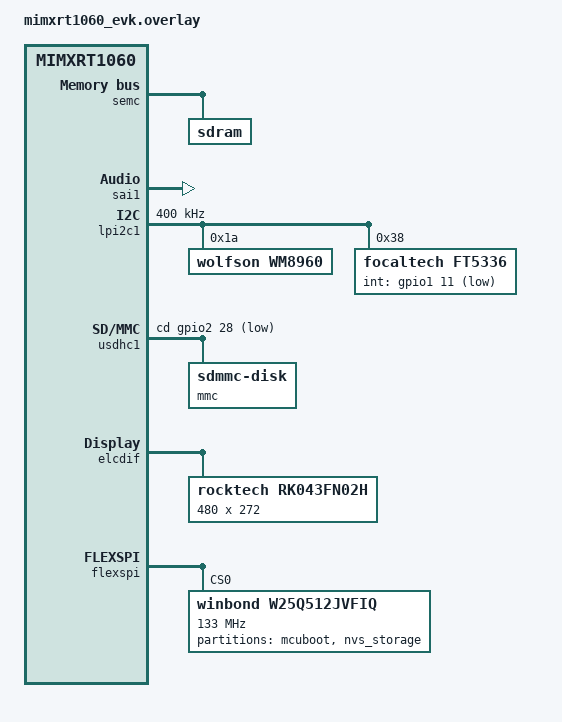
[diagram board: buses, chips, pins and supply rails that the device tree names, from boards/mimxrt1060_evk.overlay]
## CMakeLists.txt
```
cmake_minimum_required(VERSION 3.20)
find_package(Zephyr REQUIRED HINTS $ENV{ZEPHYR_BASE})

project(mp3player)

target_sources(app PRIVATE
    src/main.c
    src/player_state.c
    src/settings.c
    src/mp3_meta.c
    src/mp3_seek.c
    src/mp3_decoder.c
    src/playlist.c
    src/playlist_ui.c
    src/album_art.c
    src/ui.c
    src/ui_fonts.c
    src/ui_layout.c
    src/board_display.c
    src/eq_presets.c
    src/eq_curve.c
    src/eq_bands.c
    src/eq_ui.c
    src/audio_hal.c
    src/audio_hal_wm8994.c
    src/audio_hal_wm8960.c
    src/audio_hal_wm8904.c
    src/audio_hal_da7212.c
    src/biquad_eq.c
    src/button_input.c
)

target_include_directories(app PRIVATE src)

# minimp3 — single-header MP3 decoder
set(MINIMP3_DIR ${CMAKE_CURRENT_SOURCE_DIR}/modules/minimp3)
if(EXISTS ${MINIMP3_DIR}/minimp3.h)
    target_include_directories(app PRIVATE ${MINIMP3_DIR})
endif()

# TJpgDec — fetched by west into modules/tjpgdec (cmumford/TJpgDec mirror)
set(TJPGDEC_DIR ${CMAKE_CURRENT_SOURCE_DIR}/../modules/tjpgdec)
if(EXISTS ${TJPGDEC_DIR}/tjpgd.c)
    target_sources(app PRIVATE ${TJPGDEC_DIR}/tjpgd.c)
    target_include_directories(app PRIVATE ${TJPGDEC_DIR})
    target_compile_definitions(app PRIVATE HAS_TJPGDEC=1)
endif()
```

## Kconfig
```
mainmenu "Zephyr MP3 Player"

source "Kconfig.zephyr"

choice AUDIO_HAL_BACKEND
    prompt "Audio Codec Backend"
    default AUDIO_HAL_WM8994

config AUDIO_HAL_WM8994
    bool "WM8994 (STM32F769I-DISCO / STM32F746G-DISCO)"
    help
      Wolfson WM8994 Audio Hub, 5-Band HW-EQ, HW-DRC.

config AUDIO_HAL_WM8960
    bool "WM8960 (i.MX RT1060 EVK)"
    help
      Wolfson WM8960 — kein HW-EQ, SW-Biquad Fallback.

config AUDIO_HAL_WM8904
    bool "WM8904 (LPCXpresso54628)"
    help
      Wolfson WM8904, 5-Band HW-EQ, HW-DRC.

config AUDIO_HAL_DA7212
    bool "DA7212 (EK-RA6M3G)"
    help
      Dialog DA7212, 5-Band HW-EQ.

endchoice

config AUDIO_HAL_SW_EQ_FALLBACK
    bool "Software Biquad EQ Fallback"
    default y if AUDIO_HAL_WM8960
    help
      Enables software biquad EQ for codecs without hardware EQ.

config MINIMP3
    bool "minimp3 MP3 decoder"
    default y
    help
      Enable the minimp3 single-header MP3 decoder library.
```

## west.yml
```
manifest:
  projects:
    - name: zephyr
      url: https://github.com/zephyrproject-rtos/zephyr
      revision: v3.7.0
      import: true

    - name: minimp3
      url: https://github.com/lieff/minimp3
      revision: master
      path: modules/minimp3

    - name: tjpgdec
      url: https://github.com/cmumford/TJpgDec
      revision: master
      path: modules/tjpgdec
```

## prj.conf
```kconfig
# -- Debug
CONFIG_UART_CONSOLE=n
CONFIG_RTT_CONSOLE=y
CONFIG_USE_SEGGER_RTT=y
CONFIG_THREAD_ANALYZER=y

# ── Audio ─────────────────────────────────────
CONFIG_I2S=y
CONFIG_I2C=y

# ── Filesystem ────────────────────────────────
CONFIG_FILE_SYSTEM=y
CONFIG_FAT_FILESYSTEM_ELM=y
CONFIG_DISK_ACCESS=y
CONFIG_DISK_DRIVER_SDMMC=y

# ── NVS ───────────────────────────────────────
CONFIG_FLASH=y
CONFIG_FLASH_MAP=y
CONFIG_FLASH_PAGE_LAYOUT=y
CONFIG_MPU_ALLOW_FLASH_WRITE=y
CONFIG_NVS=y

# ── GPIO ──────────────────────────────────────
CONFIG_GPIO=y

# ── LVGL ──────────────────────────────────────
CONFIG_DISPLAY=y
CONFIG_LVGL=y
CONFIG_LV_COLOR_DEPTH_16=y
CONFIG_LV_COLOR_16_SWAP=y
CONFIG_INPUT=y

# ── Fonts ─────────────────────────────────────
CONFIG_LV_FONT_MONTSERRAT_10=y
CONFIG_LV_FONT_MONTSERRAT_12=y
CONFIG_LV_FONT_MONTSERRAT_14=y
CONFIG_LV_FONT_MONTSERRAT_16=y
CONFIG_LV_FONT_MONTSERRAT_18=y
CONFIG_LV_FONT_MONTSERRAT_20=y
CONFIG_LV_FONT_MONTSERRAT_22=y
CONFIG_LV_FONT_MONTSERRAT_24=y
CONFIG_LV_FONT_MONTSERRAT_28=y
CONFIG_LV_FONT_MONTSERRAT_32=y

# ── FPU / Math ────────────────────────────────
CONFIG_FPU=y
CONFIG_FPU_SHARING=y
CONFIG_PICOLIBC=y

# ── Threading ─────────────────────────────────
CONFIG_MULTITHREADING=y
CONFIG_NUM_PREEMPT_PRIORITIES=16
CONFIG_INIT_STACKS=y

# ── minimp3 ───────────────────────────────────
CONFIG_MINIMP3=y

# ── Build ─────────────────────────────────────
CONFIG_BUILD_OUTPUT_STRIP_PATHS=n
```

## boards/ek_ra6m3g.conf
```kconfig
# EK-RA6M3G specific config
CONFIG_AUDIO_HAL_DA7212=y
CONFIG_RENESAS_RA_SDHI=y
CONFIG_RENESAS_RA_GLCDC=y
CONFIG_RENESAS_RA_SDRAM=y
CONFIG_SPI=y
CONFIG_SPI_NOR=y
CONFIG_SPI_NOR_SFDP_RUNTIME=y
CONFIG_LV_Z_MEM_POOL_SIZE=65536
CONFIG_KSCAN=y
CONFIG_KSCAN_GT911=y
CONFIG_HEAP_MEM_POOL_SIZE=131072
CONFIG_MAIN_STACK_SIZE=4096
```

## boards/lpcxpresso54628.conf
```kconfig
# LPCXpresso54628 specific config
CONFIG_AUDIO_HAL_WM8904=y
CONFIG_SDMMC_OVER_SDIF=y
CONFIG_MCUX_ELCDIF=y
CONFIG_LV_Z_MEM_POOL_SIZE=32768
CONFIG_KSCAN=y
CONFIG_KSCAN_FT5336=y
CONFIG_HEAP_MEM_POOL_SIZE=32768
CONFIG_MAIN_STACK_SIZE=4096
CONFIG_SYSTEM_WORKQUEUE_STACK_SIZE=2048
```

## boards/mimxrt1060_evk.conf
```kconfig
# i.MX RT1060 EVK specific config
CONFIG_AUDIO_HAL_WM8960=y
CONFIG_AUDIO_HAL_SW_EQ_FALLBACK=y
CONFIG_SPI=y
CONFIG_SPI_NOR=y
CONFIG_SPI_NOR_SFDP_RUNTIME=y
CONFIG_LV_Z_MEM_POOL_SIZE=65536
CONFIG_KSCAN=y
CONFIG_KSCAN_FT5336=y
CONFIG_HEAP_MEM_POOL_SIZE=131072
CONFIG_MAIN_STACK_SIZE=4096
```

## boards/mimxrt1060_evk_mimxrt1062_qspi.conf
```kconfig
# i.MX RT1060 EVK (mimxrt1062/qspi qualified) specific config
CONFIG_AUDIO_HAL_WM8960=y
CONFIG_AUDIO_HAL_SW_EQ_FALLBACK=y
CONFIG_SPI=y
CONFIG_INPUT=y
CONFIG_INPUT_FT5336=y
CONFIG_LV_Z_MEM_POOL_SIZE=65536
CONFIG_HEAP_MEM_POOL_SIZE=65536
CONFIG_MAIN_STACK_SIZE=4096
CONFIG_ENTROPY_GENERATOR=y
CONFIG_ENTROPY_MCUX_TRNG=y
```

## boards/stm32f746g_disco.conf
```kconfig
# STM32F746G-DISCO specific config
CONFIG_AUDIO_HAL_WM8994=y
CONFIG_ENTROPY_GENERATOR=y
CONFIG_ENTROPY_STM32_RNG=y
CONFIG_MEMC=y
CONFIG_LV_Z_MEM_POOL_SIZE=49152
CONFIG_INPUT=y
CONFIG_INPUT_FT5336=y
CONFIG_HEAP_MEM_POOL_SIZE=16384
CONFIG_MAIN_STACK_SIZE=4096
```

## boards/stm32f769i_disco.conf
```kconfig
# STM32F769I-DISCO specific config
CONFIG_AUDIO_HAL_WM8994=y
CONFIG_ENTROPY_GENERATOR=y
CONFIG_ENTROPY_STM32_RNG=y
CONFIG_MIPI_DSI=y
CONFIG_MEMC=y
CONFIG_LV_Z_MEM_POOL_SIZE=65536
CONFIG_INPUT=y
CONFIG_INPUT_FT5336=y
CONFIG_HEAP_MEM_POOL_SIZE=16384
CONFIG_MAIN_STACK_SIZE=4096
```

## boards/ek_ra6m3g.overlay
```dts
/* boards/ek_ra6m3g.overlay */

&sdramc {
    status = "okay";
    is42s16320f: sdram@90000000 {
        device_type         = "memory";
        reg                 = <0x90000000 DT_SIZE_M(32)>;
        renesas,endian      = <0>;
        renesas,bus-width   = <16>;
        renesas,col-addr    = <10>;
        renesas,row-addr    = <13>;
        renesas,bank-num    = <4>;
        renesas,cas-latency = <2>;
        renesas,trcd-delay-ns     = <18>;
        renesas,tras-delay-ns     = <42>;
        renesas,trp-delay-ns      = <18>;
        renesas,twr-delay-ns      = <14>;
        renesas,refresh-interval-ns = <7813>;
    };
};

&ssi0 {
    compatible = "renesas,ra-ssi";
    status = "okay";
    renesas,operating-mode = <0>;
    renesas,bit-depth = <16>;
    renesas,channel-num = <2>;
};

&sci_i2c2 {
    compatible = "renesas,ra-sci-i2c";
    status = "okay";
    clock-frequency = <I2C_BITRATE_FAST>;

    da7212: da7212@1a {
        compatible = "dialog,da7212";
        reg = <0x1a>;
    };

    gt911: gt911@5d {
        compatible  = "goodix,gt911";
        reg         = <0x5d>;
        irq-gpios   = <&ioport2 6 GPIO_ACTIVE_HIGH>;
        reset-gpios = <&ioport2 5 GPIO_ACTIVE_LOW>;
    };
};

&sdhi0 {
    compatible = "renesas,ra-sdhi";
    status = "okay";
    cd-gpios = <&ioport4 5 GPIO_ACTIVE_LOW>;
    bus-width = <4>;
    mmc {
        compatible = "zephyr,sdmmc-disk";
        disk-name  = "SD";
        status     = "okay";
    };
};

&glcdc0 {
    compatible = "renesas,ra-glcdc";
    status = "okay";
    display = <&lcd_panel>;

    lcd_panel: lcd_panel {
        width           = <480>;
        height          = <272>;
        hsync-len       = <41>;
        hfront-porch    = <4>;
        hback-porch     = <8>;
        vsync-len       = <10>;
        vfront-porch    = <4>;
        vback-porch     = <2>;
        hsync-active    = <0>;
        vsync-active    = <0>;
        de-active       = <1>;
        pixelclk-active = <0>;
        backlight-gpios = <&ioport4 3 GPIO_ACTIVE_HIGH>;
    };
};

&qspi0 {
    compatible = "renesas,ra-qspi";
    status = "okay";

    mx25l512: mx25l512@0 {
        compatible        = "jedec,spi-nor";
        reg               = <0>;
        spi-max-frequency = <80000000>;
        size              = <DT_SIZE_M(512)>;
        status            = "okay";

        partitions {
            compatible    = "fixed-partitions";
            #address-cells = <1>;
            #size-cells    = <1>;

            nvs_storage: partition@3F00000 {
                label = "nvs_storage";
                reg   = <0x03F00000 0x00100000>;
            };
        };
    };
};
```

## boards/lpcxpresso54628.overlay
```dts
/* boards/lpcxpresso54628.overlay */

&flexcomm6 {
    compatible = "nxp,lpc-i2s";
    status = "okay";
    dmas = <&dma0 12>, <&dma0 13>;
    dma-names = "rx", "tx";
};

&flexcomm2 {
    compatible = "nxp,lpc-i2c";
    status = "okay";
    clock-frequency = <I2C_BITRATE_FAST>;

    wm8904: wm8904@1a {
        compatible = "wolfson,wm8904";
        reg = <0x1a>;
    };

    ft5336@38 {
        compatible = "focaltech,ft5336";
        reg = <0x38>;
        int-gpios = <&gpio4 0 GPIO_ACTIVE_LOW>;
    };
};

&sdif {
    status = "okay";
    cd-gpios = <&gpio2 10 GPIO_ACTIVE_LOW>;
    mmc {
        compatible   = "zephyr,sdmmc-disk";
        disk-name    = "SD";
        bus-width    = <4>;
        status       = "okay";
    };
};

&lcdif {
    status = "okay";
    display = <&rk043fn02h>;

    rk043fn02h: rk043fn02h {
        compatible      = "rocktech,rk043fn02h";
        width           = <480>;
        height          = <272>;
        hsync-len       = <41>;
        hfront-porch    = <4>;
        hback-porch     = <8>;
        vsync-len       = <10>;
        vfront-porch    = <4>;
        vback-porch     = <2>;
        hsync-active    = <0>;
        vsync-active    = <0>;
        de-active       = <1>;
        pixelclk-active = <0>;
        disp-on-gpios   = <&gpio2 26 GPIO_ACTIVE_HIGH>;
    };
};

&flash0 {
    partitions {
        compatible    = "fixed-partitions";
        #address-cells = <1>;
        #size-cells    = <1>;

        slot0_partition: partition@0 {
            label = "image-0";
            reg   = <0x00000000 0x00078000>;
        };
        nvs_storage: partition@78000 {
            label = "nvs_storage";
            reg   = <0x00078000 0x00008000>;
        };
    };
};

/ {
    buttons {
        compatible = "gpio-keys";
        btn_play_pause: btn_0 {
            gpios = <&gpio0 6 (GPIO_PULL_UP | GPIO_ACTIVE_LOW)>;
            label = "Play/Pause";
        };
        btn_next: btn_1 {
            gpios = <&gpio0 7 (GPIO_PULL_UP | GPIO_ACTIVE_LOW)>;
            label = "Next";
        };
        btn_prev: btn_2 {
            gpios = <&gpio0 8 (GPIO_PULL_UP | GPIO_ACTIVE_LOW)>;
            label = "Prev";
        };
        btn_vol_up: btn_3 {
            gpios = <&gpio1 31 (GPIO_PULL_UP | GPIO_ACTIVE_LOW)>;
            label = "Vol+";
        };
        btn_vol_down: btn_4 {
            gpios = <&gpio0 24 (GPIO_PULL_UP | GPIO_ACTIVE_LOW)>;
            label = "Vol-";
        };
    };
};
```

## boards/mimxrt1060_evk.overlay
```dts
/* boards/mimxrt1060_evk.overlay */

&semc {
    status = "okay";
    sdram: sdram@80000000 {
        device_type = "memory";
        reg = <0x80000000 DT_SIZE_M(32)>;
    };
};

&sai1 {
    status = "okay";
    mclk-is-output;
};

&lpi2c1 {
    status = "okay";
    clock-frequency = <I2C_BITRATE_FAST>;

    wm8960: wm8960@1a {
        compatible = "wolfson,wm8960";
        reg = <0x1a>;
    };

    ft5336@38 {
        compatible = "focaltech,ft5336";
        reg = <0x38>;
        int-gpios = <&gpio1 11 GPIO_ACTIVE_LOW>;
    };
};

&usdhc1 {
    status = "okay";
    cd-gpios = <&gpio2 28 GPIO_ACTIVE_LOW>;
    no-1-8-v;

    mmc {
        compatible = "zephyr,sdmmc-disk";
        disk-name  = "SD";
        status     = "okay";
    };
};

&elcdif {
    status = "okay";
    display = <&rk043fn02h>;

    rk043fn02h: rk043fn02h {
        compatible     = "rocktech,rk043fn02h";
        width          = <480>;
        height         = <272>;
        hsync-len      = <41>;
        hfront-porch   = <4>;
        hback-porch    = <8>;
        vsync-len      = <10>;
        vfront-porch   = <4>;
        vback-porch    = <2>;
        hsync-active   = <0>;
        vsync-active   = <0>;
        de-active      = <1>;
        pixelclk-active = <0>;
    };
};

&flexspi {
    status = "okay";
    w25q512jvfiq: w25q512jvfiq@0 {
        compatible  = "winbond,w25q512jvfiq", "jedec,spi-nor";
        size        = <DT_SIZE_M(512)>;
        reg         = <0>;
        spi-max-frequency = <133000000>;
        status      = "okay";

        partitions {
            compatible    = "fixed-partitions";
            #address-cells = <1>;
            #size-cells    = <1>;

            boot_partition: partition@0 {
                label = "mcuboot";
                reg   = <0x00000000 DT_SIZE_M(4)>;
            };
            nvs_storage: partition@3FC0000 {
                label = "nvs_storage";
                reg   = <0x03FC0000 0x00040000>;
            };
        };
    };
};
```

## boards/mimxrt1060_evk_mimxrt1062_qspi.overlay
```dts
/* boards/mimxrt1060_evk.overlay */
#include <zephyr/dt-bindings/display/panel.h>

/ {
    chosen {
        zephyr,display = &lcdif;
    };
};

/* ── SAI1: WM8960 audio ───────────────────────────────────── */
&sai1 {
    status = "okay";
    mclk-output;
};

/* ── LPI2C1: WM8960 codec + FT5336 touch ─────────────────── */
&lpi2c1 {
    status = "okay";
    clock-frequency = <I2C_BITRATE_FAST>;

    wm8960: wm8960@1a {
        compatible = "wolfson,wm8960";
        reg = <0x1a>;
    };

    ft5336@38 {
        compatible = "focaltech,ft5336";
        reg = <0x38>;
        int-gpios = <&gpio1 11 GPIO_ACTIVE_LOW>;
    };
};

/* ── USDHC1: SD card ──────────────────────────────────────── */
&usdhc1 {
    status = "okay";
    no-1-8-v;

    mmc {
        compatible = "zephyr,sdmmc-disk";
        disk-name  = "SD";
        status     = "okay";
    };
};

/* ── eLCDIF: 480×272 RK043FN02H parallel panel ────────────── */
&lcdif {
    status = "okay";
    width  = <480>;
    height = <272>;
    pixel-format = <PANEL_PIXEL_FORMAT_RGB_565>;

    display-timings {
        compatible = "zephyr,panel-timing";
        clock-frequency = <9210240>;
        hsync-active   = <0>;
        vsync-active   = <0>;
        de-active      = <1>;
        pixelclk-active = <0>;
        hsync-len      = <41>;
        vsync-len      = <10>;
        hback-porch    = <8>;
        vback-porch    = <2>;
        hfront-porch   = <4>;
        vfront-porch   = <4>;
    };
};
```

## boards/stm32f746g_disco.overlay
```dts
/* boards/stm32f746g_disco.overlay */
#include <zephyr/dt-bindings/display/panel.h>

/* ── SAI1 Block A: PE2=MCLK, PE5=SCK, PE6=SD, PE4=FS ─────── */
&sai1_a {
    dma-names = "tx";
    pinctrl-0 = <&sai1_mclk_a_pe2 &sai1_sck_a_pe5
                 &sai1_sd_a_pe6   &sai1_fs_a_pe4>;
    pinctrl-names = "default";
    status = "okay";
};

/* ── DMA2: required for st_stm32_dma_v1 SAI driver ────────── */
&dma2 {
    status = "okay";
};

/* ── RNG for sys_rand_get ─────────────────────────────────── */
&rng {
    status = "okay";
};

/* ── WM8994 on I2C3 (PH7=SCL, PH8=SDA) ──────────────────── */
&i2c3 {
    status = "okay";
    clock-frequency = <I2C_BITRATE_FAST>;

    wm8994: wm8994@1b {
        compatible = "wolfson,wm8994";
        reg = <0x1b>;
    };

    ft5336@38 {
        compatible = "focaltech,ft5336";
        reg = <0x38>;
        int-gpios = <&gpioi 13 GPIO_ACTIVE_LOW>;
    };
};

/* ── SDMMC1 (SD card) ─────────────────────────────────────── */
&sdmmc1 {
    status = "okay";
    pinctrl-0 = <&sdmmc1_d0_pc8 &sdmmc1_d1_pc9
                 &sdmmc1_d2_pc10 &sdmmc1_d3_pc11
                 &sdmmc1_ck_pc12 &sdmmc1_cmd_pd2>;
    pinctrl-names = "default";
    cd-gpios = <&gpioc 13 GPIO_ACTIVE_LOW>;
    bus-width = <4>;

    mmc {
        compatible = "zephyr,sdmmc-disk";
        disk-name  = "SD";
        status     = "okay";
    };
};

/* ── LTDC (480×272 RK043FN02H parallel panel) ─────────────── */
&ltdc {
    status = "okay";
    ext-sdram = <&sdram1>;
    width     = <480>;
    height    = <272>;
    pixel-format = <PANEL_PIXEL_FORMAT_RGB_888>;
    disp-on-gpios = <&gpioi 12 GPIO_ACTIVE_HIGH>;
    bl-ctrl-gpios = <&gpiok 3  GPIO_ACTIVE_HIGH>;

    display-timings {
        compatible = "zephyr,panel-timing";
        hsync-active   = <0>;
        vsync-active   = <0>;
        de-active      = <1>;
        pixelclk-active = <0>;
        hsync-len      = <41>;
        vsync-len      = <10>;
        hback-porch    = <8>;
        vback-porch    = <2>;
        hfront-porch   = <4>;
        vfront-porch   = <4>;
    };
};

/* ── Flash partitions for NVS ─────────────────────────────── */
&flash0 {
    partitions {
        compatible    = "fixed-partitions";
        #address-cells = <1>;
        #size-cells    = <1>;

        slot0_partition: partition@0 {
            label = "image-0";
            reg   = <0x00000000 0x000F0000>;
        };
        nvs_storage: partition@F0000 {
            label = "nvs_storage";
            reg   = <0x000F0000 0x00010000>;
        };
    };
};
```

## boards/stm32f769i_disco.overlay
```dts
/* boards/stm32f769i_disco.overlay */
#include <zephyr/dt-bindings/dma/stm32_dma.h>
#include <zephyr/dt-bindings/display/panel.h>
#include <zephyr/dt-bindings/mipi_dsi/mipi_dsi.h>

/* ── SAI2 Block A: not in stm32f7.dtsi, add it here ──────── */
/ {
    chosen {
        zephyr,display = &ltdc;
    };

    soc {
        sai2_a: sai2@40015c04 {
            compatible = "st,stm32-sai";
            #address-cells = <1>;
            #size-cells = <0>;
            reg = <0x40015c04 0x20>;
            clocks = <&rcc STM32_CLOCK(APB2, 23)>;
            dmas = <&dma2 4 3 (STM32_DMA_MODE_NORMAL |
                               STM32_DMA_PRIORITY_HIGH |
                               STM32_DMA_16BITS) 0>;
            dma-names = "tx";
            pinctrl-0 = <&sai2_mclk_a_pi4 &sai2_sck_a_pi5
                         &sai2_sd_a_pi6  &sai2_fs_a_pi7>;
            pinctrl-names = "default";
            status = "okay";
        };
    };
};

/* ── WM8994 on I2C3 (PH7=SCL, PH8=SDA) ──────────────────── */
&i2c3 {
    status = "okay";
    pinctrl-0 = <&i2c3_scl_ph7 &i2c3_sda_ph8>;
    pinctrl-names = "default";
    clock-frequency = <I2C_BITRATE_FAST>;

    wm8994: wm8994@1b {
        compatible = "wolfson,wm8994";
        reg = <0x1b>;
    };
};

/* ── PLLSAI for pixel clock (800×480 @ ~25 MHz) ─────────── */
&pllsai {
    div-m = <25>;
    mul-n = <384>;
    div-r = <5>;
    post-div-r = <8>;
    clocks = <&clk_hse>;
    status = "okay";
};

/* ── DMA2: enable so DT_HAS_COMPAT_STATUS_OKAY(st_stm32_dma_v1) is true ── */
&dma2 {
    status = "okay";
};

/* ── RNG for sys_rand_get ─────────────────────────────────── */
&rng {
    status = "okay";
};

/* ── LTDC (feeds DSI host) ───────────────────────────────── */
&ltdc {
    width        = <800>;
    height       = <480>;
    pixel-format = <PANEL_PIXEL_FORMAT_RGB_888>;
    ext-sdram    = <&sdram1>;
    def-back-color-red   = <0>;
    def-back-color-green = <0>;
    def-back-color-blue  = <0>;
    status = "okay";

    display-timings {
        compatible = "zephyr,panel-timing";
        hsync-active   = <0>;
        vsync-active   = <0>;
        de-active      = <0>;
        pixelclk-active = <0>;
        hsync-len      = <2>;
        vsync-len      = <1>;
        hback-porch    = <34>;
        vback-porch    = <15>;
        hfront-porch   = <34>;
        vfront-porch   = <16>;
    };
};

/* ── MIPI DSI host + OTM8009A panel ─────────────────────── */
&mipi_dsi {
    pll-ndiv = <100>;
    pll-idf  = <5>;
    pll-odf  = <0>;

    vs-active-high;
    hs-active-high;
    de-active-high;

    status = "okay";

    otm8009a: otm8009a@0 {
        compatible = "orisetech,otm8009a";
        reg          = <0>;
        reset-gpios  = <&gpioj 15 GPIO_ACTIVE_LOW>;
        width        = <800>;
        height       = <480>;
        data-lanes   = <2>;
        pixel-format = <MIPI_DSI_PIXFMT_RGB888>;
        status       = "okay";
    };
};
```

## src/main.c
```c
#include <zephyr/kernel.h>
#include <zephyr/drivers/display.h>
#include <lvgl.h>
#include <string.h>

#include "player_state.h"
#include "settings.h"
#include "playlist.h"
#include "mp3_decoder.h"
#include "audio_hal.h"
#include "ui.h"
#include "button_input.h"

/* ── Stack-Definitionen ───────────────────────── */
#define DECODER_STACK  16384
#define PLAYER_STACK    4096
#define UI_STACK       20480
#define SAVE_STACK      2048

K_THREAD_STACK_DEFINE(decoder_stack, DECODER_STACK);
K_THREAD_STACK_DEFINE(player_stack,  PLAYER_STACK);
K_THREAD_STACK_DEFINE(ui_stack,      UI_STACK);
K_THREAD_STACK_DEFINE(save_stack,    SAVE_STACK);

static struct k_thread decoder_tid;
static struct k_thread player_tid;
static struct k_thread ui_tid;
static struct k_thread save_tid;

/* ── Save-Thread: Position alle 5 s persistieren  */
void save_thread(void *p1, void *p2, void *p3) {
    ARG_UNUSED(p1); ARG_UNUSED(p2); ARG_UNUSED(p3);
    uint32_t last_saved = 0;
    while (1) {
        k_sleep(K_SECONDS(5));
        k_mutex_lock(&state_mutex, K_FOREVER);
        uint32_t pos   = g_state.elapsed_sec;
        int16_t  cur   = g_playlist.current;
        k_mutex_unlock(&state_mutex);
        if (pos != last_saved && cur >= 0) {
            uint16_t track = (uint16_t)cur;
            settings_save_position(track, pos);
            last_saved = pos;
        }
    }
}

/* ── UI-Thread ────────────────────────────────── */
void ui_thread(void *p1, void *p2, void *p3) {
    ARG_UNUSED(p1); ARG_UNUSED(p2); ARG_UNUSED(p3);
    const struct device *display =
        DEVICE_DT_GET(DT_CHOSEN(zephyr_display));
    if (!device_is_ready(display)) {
        return;
    }
    display_blanking_off(display);
    lv_init();
    ui_init();
    while (1) {
        ui_update();
        lv_task_handler();
        k_sleep(K_MSEC(16));
    }
}

int main(void) {
    /* Einstellungen laden */
    settings_init();
    app_settings_t cfg;
    settings_load(&cfg);

    /* Audio HAL initialisieren */
    audio_hal_init();
    audio_set_volume(cfg.volume);

    /* State befüllen */
    k_mutex_lock(&state_mutex, K_FOREVER);
    g_state.volume = cfg.volume;
    k_mutex_unlock(&state_mutex);

    /* Playlist scannen */
    playlist_scan("/SD:/Music", &g_playlist);
    if (g_playlist.count == 0) {
        k_mutex_lock(&state_mutex, K_FOREVER);
        strncpy(g_state.track_name, "No tracks", TRACK_NAME_MAX - 1);
        strncpy(g_state.artist,     "Insert SD card", TRACK_NAME_MAX - 1);
        k_mutex_unlock(&state_mutex);
    } else {
        if (cfg.last_track < g_playlist.count) {
            g_playlist.current = (int16_t)cfg.last_track;
        }
    }
    if (cfg.shuffle) {
        playlist_shuffle_enable(&g_playlist);
    }

    /* Button-Input (LPC54628 ohne Touch) */
    button_input_init();

    /* Threads starten */
    /* Priorität 3: Player (I2S darf nicht abreißen)  */
    k_thread_create(&player_tid, player_stack, PLAYER_STACK,
                    player_thread, NULL, NULL, NULL,
                    K_PRIO_PREEMPT(3), 0, K_NO_WAIT);

    /* Priorität 5: Decoder */
    if (g_playlist.count > 0 && g_playlist.current >= 0) {
        k_thread_create(&decoder_tid, decoder_stack, DECODER_STACK,
                        decoder_thread,
                        g_playlist.entries[g_playlist.current].path,
                        NULL, NULL,
                        K_PRIO_PREEMPT(5), 0, K_NO_WAIT);
    }

    /* Priorität 7: UI */
    k_thread_create(&ui_tid, ui_stack, UI_STACK,
                    ui_thread, NULL, NULL, NULL,
                    K_PRIO_PREEMPT(7), 0, K_NO_WAIT);

    /* Priorität 9: Save */
    k_thread_create(&save_tid, save_stack, SAVE_STACK,
                    save_thread, NULL, NULL, NULL,
                    K_PRIO_PREEMPT(9), 0, K_NO_WAIT);

    return 0;
}
```

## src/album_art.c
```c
#include "album_art.h"
#include "memory_cfg.h"
#include <zephyr/kernel.h>
#include <string.h>
#include <lvgl.h>

#ifdef HAS_TJPGDEC
#include "tjpgd.h"

#define TJPGD_WORK_SIZE 4096
static uint8_t s_work[TJPGD_WORK_SIZE];

/* Input callback: feed raw JPEG bytes to TJpgDec */
typedef struct { const uint8_t *data; uint32_t size; uint32_t pos; } jpeg_src_t;

static unsigned jpeg_in(JDEC *jd, uint8_t *buf, unsigned len) {
    jpeg_src_t *src = (jpeg_src_t *)jd->device;
    unsigned avail = src->size - src->pos;
    if (len > avail) len = avail;
    if (buf) memcpy(buf, src->data + src->pos, len);
    src->pos += len;
    return len;
}

/* Output callback: write one decoded MCU block into the pixel buffer */
static lv_color_t s_pixel_buf[ART_DISPLAY_SIZE * ART_DISPLAY_SIZE] MEM_SECTION;

static int jpeg_out(JDEC *jd, void *bitmap, JRECT *rect) {
    ARG_UNUSED(jd);
    const uint8_t *src = (const uint8_t *)bitmap;  /* RGB888 */
    uint16_t bw = rect->right  - rect->left + 1;
    uint16_t bh = rect->bottom - rect->top  + 1;

    for (uint16_t y = 0; y < bh; y++) {
        for (uint16_t x = 0; x < bw; x++) {
            uint32_t px = (uint32_t)(rect->top + y) * ART_DISPLAY_SIZE
                        + (rect->left + x);
            if (px >= (uint32_t)(ART_DISPLAY_SIZE * ART_DISPLAY_SIZE)) continue;
            const uint8_t *p = src + (y * bw + x) * 3;
            s_pixel_buf[px] = lv_color_make(p[0], p[1], p[2]);
        }
    }
    return 1; /* 1 = continue */
}

#else
/* Fallback when TJpgDec was not fetched */
static lv_color_t s_pixel_buf[ART_DISPLAY_SIZE * ART_DISPLAY_SIZE] MEM_SECTION;
#endif /* HAS_TJPGDEC */

static lv_img_dsc_t s_img_dsc;
static bool         s_decoded = false;

bool album_art_decode(const uint8_t *jpeg_data, uint32_t size) {
    s_decoded = false;
    if (!jpeg_data || size == 0) return false;

#ifdef HAS_TJPGDEC
    JDEC jd;
    jpeg_src_t src = { .data = jpeg_data, .size = size, .pos = 0 };

    /* Initialise decompressor */
    JRESULT rc = jd_prepare(&jd, jpeg_in, s_work, TJPGD_WORK_SIZE, &src);
    if (rc != JDR_OK) return false;

    /* Scale down to fit ART_DISPLAY_SIZE: pick largest 1/N that still fits */
    uint8_t scale = 0;
    while (scale < 3 &&
           (jd.width  >> (scale + 1)) >= ART_DISPLAY_SIZE &&
           (jd.height >> (scale + 1)) >= ART_DISPLAY_SIZE) {
        scale++;
    }

    memset(s_pixel_buf, 0, sizeof(s_pixel_buf));
    rc = jd_decomp(&jd, jpeg_out, scale);
    if (rc != JDR_OK) return false;
#else
    /* No JPEG decoder — solid grey placeholder */
    ARG_UNUSED(jpeg_data);
    ARG_UNUSED(size);
    lv_color_t grey = lv_color_make(0x44, 0x44, 0x44);
    for (int i = 0; i < ART_DISPLAY_SIZE * ART_DISPLAY_SIZE; i++) {
        s_pixel_buf[i] = grey;
    }
#endif

    s_img_dsc.header.magic  = LV_IMAGE_HEADER_MAGIC;
    s_img_dsc.header.cf     = LV_COLOR_FORMAT_NATIVE;
    s_img_dsc.header.w      = ART_DISPLAY_SIZE;
    s_img_dsc.header.h      = ART_DISPLAY_SIZE;
    s_img_dsc.header.stride = ART_DISPLAY_SIZE * sizeof(lv_color_t);
    s_img_dsc.data_size     = sizeof(s_pixel_buf);
    s_img_dsc.data          = (const uint8_t *)s_pixel_buf;
    s_decoded = true;
    return true;
}

lv_obj_t *album_art_create_widget(lv_obj_t *parent, lv_coord_t x,
                                   lv_coord_t y) {
    lv_obj_t *img = lv_img_create(parent);
    lv_obj_set_pos(img, x, y);
    lv_obj_set_size(img, ART_DISPLAY_SIZE, ART_DISPLAY_SIZE);
    return img;
}

void album_art_update(lv_obj_t *img_widget, const mp3_meta_t *meta) {
    if (!img_widget) return;

    bool ok = false;
    if (meta && meta->has_art) {
        ok = album_art_decode(meta->art_data, meta->art_size);
    }
    if (!ok) {
        /* Grey placeholder */
        lv_color_t grey = lv_color_make(0x33, 0x33, 0x33);
        for (int i = 0; i < ART_DISPLAY_SIZE * ART_DISPLAY_SIZE; i++) {
            s_pixel_buf[i] = grey;
        }
        s_img_dsc.header.magic  = LV_IMAGE_HEADER_MAGIC;
        s_img_dsc.header.cf     = LV_COLOR_FORMAT_NATIVE;
        s_img_dsc.header.w      = ART_DISPLAY_SIZE;
        s_img_dsc.header.h      = ART_DISPLAY_SIZE;
        s_img_dsc.header.stride = ART_DISPLAY_SIZE * sizeof(lv_color_t);
        s_img_dsc.data_size     = sizeof(s_pixel_buf);
        s_img_dsc.data          = (const uint8_t *)s_pixel_buf;
        s_decoded = true;
    }
    if (s_decoded) {
        lv_img_set_src(img_widget, &s_img_dsc);
    }
}
```

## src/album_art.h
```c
#pragma once
#include <lvgl.h>
#include "mp3_meta.h"

bool      album_art_decode(const uint8_t *jpeg_data, uint32_t size);
lv_obj_t *album_art_create_widget(lv_obj_t *parent,
                                   lv_coord_t x, lv_coord_t y);
void      album_art_update(lv_obj_t *img_widget,
                            const mp3_meta_t *meta);
```

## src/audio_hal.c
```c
#include "audio_hal.h"
#include <zephyr/kernel.h>

const audio_hal_api_t *g_audio_hal = NULL;

int audio_hal_init(void) {
#if defined(CONFIG_AUDIO_HAL_WM8994)
    g_audio_hal = &audio_hal_wm8994;
#elif defined(CONFIG_AUDIO_HAL_WM8960)
    g_audio_hal = &audio_hal_wm8960;
#elif defined(CONFIG_AUDIO_HAL_WM8904)
    g_audio_hal = &audio_hal_wm8904;
#elif defined(CONFIG_AUDIO_HAL_DA7212)
    g_audio_hal = &audio_hal_da7212;
#else
    #error "Kein Audio HAL konfiguriert — prj.conf prüfen"
#endif
    return g_audio_hal->init ? g_audio_hal->init() : 0;
}
```

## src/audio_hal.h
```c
#pragma once
#include <stdint.h>
#include <stdbool.h>
#include <zephyr/kernel.h>

#define EQ_BANDS 5

typedef enum {
    EQ_BAND_LOW_SHELF = 0,
    EQ_BAND_PEAK_1,
    EQ_BAND_PEAK_2,
    EQ_BAND_PEAK_3,
    EQ_BAND_HIGH_SHELF,
} eq_band_id_t;

typedef struct {
    uint16_t freq_hz;
    float    gain_db;
    float    q;
} eq_band_t;

typedef struct {
    eq_band_t bands[EQ_BANDS];
    bool      enabled;
} eq_config_t;

#define EQ_CONFIG_FLAT {                                          \
    .enabled = false,                                            \
    .bands = {                                                   \
        { .freq_hz =   80, .gain_db = 0.0f, .q = 0.0f },        \
        { .freq_hz =  300, .gain_db = 0.0f, .q = 1.0f },        \
        { .freq_hz = 1000, .gain_db = 0.0f, .q = 1.0f },        \
        { .freq_hz = 3200, .gain_db = 0.0f, .q = 1.0f },        \
        { .freq_hz = 9000, .gain_db = 0.0f, .q = 0.0f },        \
    }                                                            \
}

typedef struct {
    bool     enabled;
    float    threshold_db;
    float    ratio;
    uint32_t attack_ms;
    uint32_t release_ms;
} drc_config_t;

typedef struct audio_hal_api {
    const char *name;
    int  (*init)         (void);
    int  (*set_volume)   (uint8_t vol_pct);
    int  (*set_mute)     (bool mute);
    int  (*set_eq)       (const eq_config_t *eq);
    int  (*set_drc)      (const drc_config_t *drc);
    int  (*set_samplerate)(uint32_t hz);
    bool hw_eq;
    bool hw_drc;
    uint8_t eq_bands;
} audio_hal_api_t;

extern const audio_hal_api_t *g_audio_hal;

int audio_hal_init(void);

static inline int audio_set_volume(uint8_t v) {
    if (!g_audio_hal || !g_audio_hal->set_volume) return -ENODEV;
    return g_audio_hal->set_volume(v);
}
static inline int audio_set_eq(const eq_config_t *eq) {
    if (!g_audio_hal || !g_audio_hal->set_eq) return -ENODEV;
    return g_audio_hal->set_eq(eq);
}
static inline int audio_set_mute(bool m) {
    if (!g_audio_hal || !g_audio_hal->set_mute) return -ENODEV;
    return g_audio_hal->set_mute(m);
}

/* Extern HAL instances */
extern const audio_hal_api_t audio_hal_wm8994;
extern const audio_hal_api_t audio_hal_wm8960;
extern const audio_hal_api_t audio_hal_wm8904;
extern const audio_hal_api_t audio_hal_da7212;
```

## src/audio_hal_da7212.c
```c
#include "audio_hal.h"
#include <zephyr/drivers/i2c.h>
#include <zephyr/kernel.h>

#define DA7212_ADDR 0x1A

static const struct device *s_i2c;

static int da7212_write(uint8_t reg, uint8_t val) {
    uint8_t buf[2] = { reg, val };
    return i2c_write(s_i2c, buf, 2, DA7212_ADDR);
}

static int da7212_init(void) {
#if DT_NODE_EXISTS(DT_NODELABEL(da7212))
    s_i2c = DEVICE_DT_GET(DT_BUS(DT_NODELABEL(da7212)));
#else
    s_i2c = NULL;
#endif
    if (!s_i2c || !device_is_ready(s_i2c)) return -ENODEV;

    /* Keep-alive / reset */
    da7212_write(0xFD, 0x01); /* CIF_CTRL: soft reset */
    k_msleep(10);

    /* System clock: MCLK → system */
    da7212_write(0x22, 0x01); /* PLL_CTRL: PLL off, MCLK direct */

    /* Audio interface: I2S, 16-bit, slave */
    da7212_write(0x27, 0x08); /* DAI_CTRL: I2S, 16-bit */
    da7212_write(0x28, 0x00); /* DAI_CLK_MODE: slave */

    /* Power up DAC & HP amplifier */
    da7212_write(0x43, 0x80); /* DAC_L_CTRL: DAC_L_EN */
    da7212_write(0x44, 0x80); /* DAC_R_CTRL: DAC_R_EN */
    da7212_write(0x45, 0x00); /* Unmute */

    /* Mixer: DAC → HP */
    da7212_write(0x69, 0x80); /* HP_L_CTRL: HP_L_AMP_EN */
    da7212_write(0x6A, 0x80); /* HP_R_CTRL: HP_R_AMP_EN */

    /* Default HP volume */
    da7212_write(0x6B, 0x37); /* HP_L_GAIN */
    da7212_write(0x6C, 0x37); /* HP_R_GAIN */

    /* System power */
    da7212_write(0xFD, 0x00); /* normal operation */

    return 0;
}

static int da7212_set_volume(uint8_t vol_pct) {
    /* 0–100% → 0x00–0x3F HP gain */
    uint8_t gain = (uint8_t)(vol_pct * 0x3F / 100);
    da7212_write(0x6B, gain);
    da7212_write(0x6C, gain);
    return 0;
}

static int da7212_set_mute(bool mute) {
    da7212_write(0x45, mute ? 0x08 : 0x00); /* DAC_FILTERS1: MUTE bit */
    return 0;
}

static int da7212_set_eq(const eq_config_t *eq) {
    ARG_UNUSED(eq);
    return 0;
}

static int da7212_set_drc(const drc_config_t *drc) {
    if (!drc->enabled) {
        da7212_write(0x6E, 0x00); /* DRC_CTRL: disable */
        return 0;
    }
    da7212_write(0x6E, 0x28); /* DRC enable, default threshold */
    return 0;
}

static int da7212_set_samplerate(uint32_t hz) {
    uint8_t sr;
    switch (hz) {
    case 8000:  sr = 0x01; break;
    case 16000: sr = 0x03; break;
    case 32000: sr = 0x07; break;
    case 44100: sr = 0x0A; break;
    case 48000: sr = 0x0B; break;
    default:    sr = 0x0A; break;
    }
    da7212_write(0x22, sr);
    return 0;
}

const audio_hal_api_t audio_hal_da7212 = {
    .name           = "DA7212",
    .init           = da7212_init,
    .set_volume     = da7212_set_volume,
    .set_mute       = da7212_set_mute,
    .set_eq         = da7212_set_eq,
    .set_drc        = da7212_set_drc,
    .set_samplerate = da7212_set_samplerate,
    .hw_eq          = false,
    .hw_drc         = true,
    .eq_bands       = 0,
};
```

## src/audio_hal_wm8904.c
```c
#include "audio_hal.h"
#include <zephyr/drivers/i2c.h>
#include <zephyr/kernel.h>

#define WM8904_ADDR 0x1A

static const struct device *s_i2c;

static int wm8904_write(uint8_t reg, uint16_t val) {
    uint8_t buf[3] = { reg, (uint8_t)(val >> 8), (uint8_t)(val & 0xFF) };
    return i2c_write(s_i2c, buf, 3, WM8904_ADDR);
}

static int wm8904_init(void) {
#if DT_NODE_EXISTS(DT_NODELABEL(wm8904))
    s_i2c = DEVICE_DT_GET(DT_BUS(DT_NODELABEL(wm8904)));
#else
    s_i2c = NULL;
#endif
    if (!s_i2c || !device_is_ready(s_i2c)) return -ENODEV;

    /* SW reset */
    wm8904_write(0x00, 0x8904);
    k_msleep(10);

    /* Bias & VMID */
    wm8904_write(0x04, 0x0019); /* VMID_ENA, BIAS_ENA, VMID_BUF_ENA */
    k_msleep(5);
    wm8904_write(0x04, 0x0018); /* VMID normal */

    /* Clock: SYSCLK = MCLK */
    wm8904_write(0x15, 0x0845); /* MCLK div, SYSCLK_SRC=MCLK */

    /* Audio interface: I2S, 16-bit, slave */
    wm8904_write(0x18, 0x0002);

    /* DAC power */
    wm8904_write(0x03, 0x0003); /* DACL_ENA, DACR_ENA */
    wm8904_write(0x0E, 0x0003); /* HPL_PGA_ENA, HPR_PGA_ENA */

    /* DAC → headphone path */
    wm8904_write(0x43, 0x000F); /* Charge pump enable */
    wm8904_write(0x5A, 0x00FF); /* Analogue HP seq */

    /* Headphone volume: 0 dB */
    wm8904_write(0x39, 0x00C0); /* HPOUTL_VOL */
    wm8904_write(0x3A, 0x00C0); /* HPOUTR_VOL */

    return 0;
}

static int wm8904_set_volume(uint8_t vol_pct) {
    uint16_t vol = (uint16_t)(vol_pct * 0x3F / 100);
    wm8904_write(0x39, 0x0100 | vol); /* update bit */
    wm8904_write(0x3A, 0x0100 | vol);
    return 0;
}

static int wm8904_set_mute(bool mute) {
    wm8904_write(0x21, mute ? 0x0008 : 0x0000); /* DAC_MUTE */
    return 0;
}

static int wm8904_set_eq(const eq_config_t *eq) {
    ARG_UNUSED(eq);
    return 0;
}

static int wm8904_set_drc(const drc_config_t *drc) {
    if (!drc->enabled) {
        wm8904_write(0x28, 0x0000);
        return 0;
    }
    wm8904_write(0x28, 0x01AF); /* DRC enable with defaults */
    return 0;
}

static int wm8904_set_samplerate(uint32_t hz) {
    ARG_UNUSED(hz);
    return 0;
}

const audio_hal_api_t audio_hal_wm8904 = {
    .name           = "WM8904",
    .init           = wm8904_init,
    .set_volume     = wm8904_set_volume,
    .set_mute       = wm8904_set_mute,
    .set_eq         = wm8904_set_eq,
    .set_drc        = wm8904_set_drc,
    .set_samplerate = wm8904_set_samplerate,
    .hw_eq          = false,
    .hw_drc         = true,
    .eq_bands       = 0,
};
```

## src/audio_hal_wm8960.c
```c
#include "audio_hal.h"
#include <zephyr/drivers/i2c.h>
#include <zephyr/kernel.h>

#define WM8960_ADDR 0x1A

static const struct device *s_i2c;

/* WM8960 uses 9-bit registers packed as [reg<<1 | bit8_of_val, val[7:0]] */
static int wm8960_write(uint8_t reg, uint16_t val) {
    uint8_t buf[2] = {
        (uint8_t)((reg << 1) | ((val >> 8) & 0x01)),
        (uint8_t)(val & 0xFF)
    };
    return i2c_write(s_i2c, buf, 2, WM8960_ADDR);
}

static int wm8960_init(void) {
#if DT_NODE_EXISTS(DT_NODELABEL(wm8960))
    s_i2c = DEVICE_DT_GET(DT_BUS(DT_NODELABEL(wm8960)));
#else
    s_i2c = NULL;
#endif
    if (!s_i2c || !device_is_ready(s_i2c)) return -ENODEV;

    /* Reset */
    wm8960_write(0x0F, 0x000);
    k_msleep(10);

    /* Power: VMID, VREF, AINL, AINR, ADCL, ADCR */
    wm8960_write(0x19, 0x1FC);
    wm8960_write(0x1A, 0x1F8); /* DAC power + headphone driver */
    wm8960_write(0x2F, 0x00C); /* LOUT1_PU, ROUT1_PU */

    /* Clocking: use MCLK directly, SR=44100 */
    wm8960_write(0x04, 0x000); /* SYSCLK = MCLK */
    wm8960_write(0x08, 0x000); /* SR=44100 assumed from MCLK */

    /* DAC format: I2S, 16-bit, slave */
    wm8960_write(0x07, 0x002); /* I2S format, 16-bit */

    /* DAC → headphone output */
    wm8960_write(0x22, 0x100); /* DACL → left mixer */
    wm8960_write(0x25, 0x100); /* DACR → right mixer */

    /* Default headphone volume */
    wm8960_write(0x02, 0x179); /* LOUT1VOL with update bit */
    wm8960_write(0x03, 0x179); /* ROUT1VOL with update bit */

    /* Unmute DAC */
    wm8960_write(0x05, 0x000);

    return 0;
}

static int wm8960_set_volume(uint8_t vol_pct) {
    /* 0–100% → 0x30–0x7F headphone volume register */
    uint16_t vol = 0x30 + (uint16_t)(vol_pct * 0x4F / 100);
    wm8960_write(0x02, 0x100 | vol);
    wm8960_write(0x03, 0x100 | vol);
    return 0;
}

static int wm8960_set_mute(bool mute) {
    wm8960_write(0x05, mute ? 0x008 : 0x000);
    return 0;
}

static int wm8960_set_eq(const eq_config_t *eq) {
    /* WM8960 has no hardware EQ — SW EQ applied in biquad_eq */
    ARG_UNUSED(eq);
    return 0;
}

static int wm8960_set_drc(const drc_config_t *drc) {
    if (!drc->enabled) {
        wm8960_write(0x10, 0x000);
        return 0;
    }
    wm8960_write(0x10, 0x1C0); /* ALC enable, both channels */
    return 0;
}

static int wm8960_set_samplerate(uint32_t hz) {
    ARG_UNUSED(hz);
    /* Full PLL programming omitted — MCLK assumed matching */
    return 0;
}

const audio_hal_api_t audio_hal_wm8960 = {
    .name           = "WM8960",
    .init           = wm8960_init,
    .set_volume     = wm8960_set_volume,
    .set_mute       = wm8960_set_mute,
    .set_eq         = wm8960_set_eq,
    .set_drc        = wm8960_set_drc,
    .set_samplerate = wm8960_set_samplerate,
    .hw_eq          = false,
    .hw_drc         = false,
    .eq_bands       = 0,
};
```

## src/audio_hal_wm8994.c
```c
#include "audio_hal.h"
#include <zephyr/drivers/i2c.h>
#include <zephyr/kernel.h>

#define WM8994_ADDR  0x1A

static const struct device *s_i2c;

static int wm8994_write(uint16_t reg, uint16_t val) {
    uint8_t buf[4] = {
        (uint8_t)(reg >> 8), (uint8_t)(reg & 0xFF),
        (uint8_t)(val >> 8), (uint8_t)(val & 0xFF)
    };
    return i2c_write(s_i2c, buf, 4, WM8994_ADDR);
}

static int wm8994_init(void) {
#if DT_NODE_EXISTS(DT_NODELABEL(wm8994))
    s_i2c = DEVICE_DT_GET(DT_BUS(DT_NODELABEL(wm8994)));
#else
    s_i2c = NULL;
#endif
    if (!s_i2c || !device_is_ready(s_i2c)) return -ENODEV;

    /* Software reset */
    wm8994_write(0x0000, 0x0000);
    k_msleep(10);

    /* Power management: enable VMID, bias, left/right DAC */
    wm8994_write(0x0001, 0x0003); /* VMID_SEL=01, BIAS_ENA=1 */
    wm8994_write(0x0002, 0x6000); /* DACL_ENA, DACR_ENA */
    wm8994_write(0x0003, 0x0300); /* MIXOUTL_ENA, MIXOUTR_ENA */
    wm8994_write(0x0004, 0x2002); /* AIF1ADC1L_ENA, ADCL_ENA */
    wm8994_write(0x0005, 0x0303); /* AIF1DAC1L_ENA, AIF1DAC1R_ENA */

    /* AIF1 format: I2S, 16-bit, BCLK slave */
    wm8994_write(0x0300, 0x4010); /* AIF1_FMT=10 (I2S), AIF1_WL=00 (16-bit) */
    wm8994_write(0x0302, 0x0000); /* AIF1 BCLK slave */

    /* Clocking: FLL not configured here — assumed external MCLK */
    wm8994_write(0x0200, 0x0001); /* AIF1CLK_ENA */
    wm8994_write(0x0208, 0x000A); /* DSP1CLK_ENA, SYSCLK_SRC=AIF1CLK */

    /* DAC → mixer → headphone output */
    wm8994_write(0x0601, 0x0001); /* DAC1L → MIXOUTL */
    wm8994_write(0x0602, 0x0001); /* DAC1R → MIXOUTR */
    wm8994_write(0x0060, 0x0022); /* HPOUT1L_ENA, HPOUT1R_ENA */

    /* Default volume: 0 dB on DAC, -12 dB on headphone */
    wm8994_write(0x0610, 0x01C0); /* DAC1L_VOL=0xC0 (0 dB) */
    wm8994_write(0x0611, 0x01C0); /* DAC1R_VOL=0xC0 */
    wm8994_write(0x001C, 0x016F); /* HPOUT1L_VOL */
    wm8994_write(0x001D, 0x016F); /* HPOUT1R_VOL */

    return 0;
}

static int wm8994_set_volume(uint8_t vol_pct) {
    /* Map 0–100% → 0x00–0xFF DAC digital volume */
    uint16_t dac_vol = (uint16_t)(vol_pct * 255 / 100);
    wm8994_write(0x0610, 0x0100 | dac_vol);
    wm8994_write(0x0611, 0x0100 | dac_vol);
    return 0;
}

static int wm8994_set_mute(bool mute) {
    wm8994_write(0x0420, mute ? 0x0200 : 0x0000);
    return 0;
}

static int wm8994_set_eq(const eq_config_t *eq) {
    /* WM8994 has a 5-band hardware EQ on the DAC path */
    if (!eq->enabled) {
        wm8994_write(0x0480, 0x0000);
        return 0;
    }
    /* EQ1 enable + coefficients — simplified fixed coefficients */
    wm8994_write(0x0480, 0x0001 |
        ((uint16_t)(eq->bands[0].gain_db > 0 ? 1 : 0) << 4));
    for (int i = 0; i < 5 && i < EQ_BANDS; i++) {
        /* Gain register: 0x481+i, format: gain_db + 12 in 4-bit field */
        int16_t g = (int16_t)(eq->bands[i].gain_db + 12.0f);
        if (g < 0) g = 0;
        if (g > 24) g = 24;
        wm8994_write((uint16_t)(0x0481 + i), (uint16_t)g);
    }
    return 0;
}

static int wm8994_set_drc(const drc_config_t *drc) {
    if (!drc->enabled) {
        wm8994_write(0x0440, 0x0000);
        return 0;
    }
    wm8994_write(0x0440, 0x03C0); /* DRC enable with default thresholds */
    return 0;
}

static int wm8994_set_samplerate(uint32_t hz) {
    uint16_t sr;
    switch (hz) {
    case 8000:  sr = 0x0003; break;
    case 11025: sr = 0x0013; break;
    case 16000: sr = 0x0007; break;
    case 22050: sr = 0x0017; break;
    case 32000: sr = 0x000B; break;
    case 44100: sr = 0x001B; break;
    case 48000: sr = 0x000F; break;
    default:    sr = 0x001B; break;
    }
    wm8994_write(0x0210, sr);
    return 0;
}

const audio_hal_api_t audio_hal_wm8994 = {
    .name           = "WM8994",
    .init           = wm8994_init,
    .set_volume     = wm8994_set_volume,
    .set_mute       = wm8994_set_mute,
    .set_eq         = wm8994_set_eq,
    .set_drc        = wm8994_set_drc,
    .set_samplerate = wm8994_set_samplerate,
    .hw_eq          = true,
    .hw_drc         = true,
    .eq_bands       = 5,
};
```

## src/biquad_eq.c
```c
#include "biquad_eq.h"
#include <math.h>
#include <string.h>

#ifndef M_PI
#define M_PI 3.14159265358979323846
#endif

static void calc_low_shelf(biquad_t *b, float freq, float gain_db, float q,
                            float fs) {
    float A  = powf(10.0f, gain_db / 40.0f);
    float w0 = 2.0f * (float)M_PI * freq / fs;
    float cw = cosf(w0);
    float sw = sinf(w0);
    float alpha = sw / 2.0f * sqrtf((A + 1.0f / A) * (1.0f / 1.0f - 1.0f) + 2.0f);
    ARG_UNUSED(q);
    float sqA = sqrtf(A);

    float b0 =  A * ((A + 1.0f) - (A - 1.0f) * cw + 2.0f * sqA * alpha);
    float b1 =  2.0f * A * ((A - 1.0f) - (A + 1.0f) * cw);
    float b2 =  A * ((A + 1.0f) - (A - 1.0f) * cw - 2.0f * sqA * alpha);
    float a0 =       (A + 1.0f) + (A - 1.0f) * cw + 2.0f * sqA * alpha;
    float a1 = -2.0f * ((A - 1.0f) + (A + 1.0f) * cw);
    float a2 =       (A + 1.0f) + (A - 1.0f) * cw - 2.0f * sqA * alpha;

    b->b0 = b0 / a0; b->b1 = b1 / a0; b->b2 = b2 / a0;
    b->a1 = a1 / a0; b->a2 = a2 / a0;
    b->z1 = b->z2 = 0.0f;
}

static void calc_high_shelf(biquad_t *b, float freq, float gain_db, float q,
                             float fs) {
    float A  = powf(10.0f, gain_db / 40.0f);
    float w0 = 2.0f * (float)M_PI * freq / fs;
    float cw = cosf(w0);
    float sw = sinf(w0);
    float alpha = sw / 2.0f * sqrtf((A + 1.0f / A) * (1.0f / 1.0f - 1.0f) + 2.0f);
    ARG_UNUSED(q);
    float sqA = sqrtf(A);

    float b0 =  A * ((A + 1.0f) + (A - 1.0f) * cw + 2.0f * sqA * alpha);
    float b1 = -2.0f * A * ((A - 1.0f) + (A + 1.0f) * cw);
    float b2 =  A * ((A + 1.0f) + (A - 1.0f) * cw - 2.0f * sqA * alpha);
    float a0 =       (A + 1.0f) - (A - 1.0f) * cw + 2.0f * sqA * alpha;
    float a1 =  2.0f * ((A - 1.0f) - (A + 1.0f) * cw);
    float a2 =       (A + 1.0f) - (A - 1.0f) * cw - 2.0f * sqA * alpha;

    b->b0 = b0 / a0; b->b1 = b1 / a0; b->b2 = b2 / a0;
    b->a1 = a1 / a0; b->a2 = a2 / a0;
    b->z1 = b->z2 = 0.0f;
}

static void calc_peak(biquad_t *b, float freq, float gain_db, float q,
                       float fs) {
    float A  = powf(10.0f, gain_db / 40.0f);
    float w0 = 2.0f * (float)M_PI * freq / fs;
    float cw = cosf(w0);
    float sw = sinf(w0);
    float alpha = sw / (2.0f * q);

    float b0 = 1.0f + alpha * A;
    float b1 = -2.0f * cw;
    float b2 = 1.0f - alpha * A;
    float a0 = 1.0f + alpha / A;
    float a1 = -2.0f * cw;
    float a2 = 1.0f - alpha / A;

    b->b0 = b0 / a0; b->b1 = b1 / a0; b->b2 = b2 / a0;
    b->a1 = a1 / a0; b->a2 = a2 / a0;
    b->z1 = b->z2 = 0.0f;
}

void biquad_eq_configure(biquad_eq_t *beq, const eq_config_t *cfg,
                         uint32_t sample_rate) {
    memset(beq, 0, sizeof(*beq));
    beq->enabled = cfg->enabled;
    float fs = (float)sample_rate;

    for (int i = 0; i < EQ_BANDS; i++) {
        float freq = (float)cfg->bands[i].freq_hz;
        float gain = cfg->bands[i].gain_db;
        float q    = cfg->bands[i].q > 0.0f ? cfg->bands[i].q : 0.707f;

        for (int ch = 0; ch < 2; ch++) {
            if (i == EQ_BAND_LOW_SHELF) {
                calc_low_shelf(&beq->bands[i][ch], freq, gain, q, fs);
            } else if (i == EQ_BAND_HIGH_SHELF) {
                calc_high_shelf(&beq->bands[i][ch], freq, gain, q, fs);
            } else {
                calc_peak(&beq->bands[i][ch], freq, gain, q, fs);
            }
        }
    }
}

static inline float biquad_tick(biquad_t *b, float x) {
    float y = b->b0 * x + b->z1;
    b->z1   = b->b1 * x - b->a1 * y + b->z2;
    b->z2   = b->b2 * x - b->a2 * y;
    return y;
}

void biquad_eq_process(biquad_eq_t *beq, int16_t *pcm, uint16_t frames,
                       uint8_t channels) {
    if (!beq->enabled) return;

    for (uint16_t i = 0; i < frames; i++) {
        for (uint8_t ch = 0; ch < channels && ch < 2; ch++) {
            float s = (float)pcm[i * channels + ch];
            for (int b = 0; b < EQ_BANDS; b++) {
                s = biquad_tick(&beq->bands[b][ch], s);
            }
            /* Clamp */
            if (s >  32767.0f) s =  32767.0f;
            if (s < -32768.0f) s = -32768.0f;
            pcm[i * channels + ch] = (int16_t)s;
        }
    }
}
```

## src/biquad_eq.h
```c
#pragma once
#include <stdint.h>
#include "audio_hal.h"

typedef struct {
    float b0, b1, b2;
    float a1, a2;
    float z1, z2;
} biquad_t;

typedef struct {
    biquad_t bands[EQ_BANDS][2];
    bool     enabled;
} biquad_eq_t;

void biquad_eq_configure(biquad_eq_t *beq,
                         const eq_config_t *cfg,
                         uint32_t sample_rate);

void biquad_eq_process(biquad_eq_t *beq,
                       int16_t *pcm,
                       uint16_t frames,
                       uint8_t channels);
```

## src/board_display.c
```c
#include "board_display.h"

display_profile_t g_display = DISPLAY_PROFILE;

void display_profile_init(void) {
    /* g_display is statically initialised via the macro; nothing to do at runtime */
}
```

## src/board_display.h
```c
#pragma once
#include <lvgl.h>

typedef struct {
    uint16_t    width;
    uint16_t    height;
    uint16_t    dpi;
    const char *name;
} display_profile_t;

#if defined(CONFIG_BOARD_STM32F769I_DISCO)
    #define DISPLAY_PROFILE { .width=800, .height=480, .dpi=233, .name="F769" }
#elif defined(CONFIG_BOARD_STM32F746G_DISCO)
    #define DISPLAY_PROFILE { .width=480, .height=272, .dpi=128, .name="F746" }
#elif defined(CONFIG_BOARD_MIMXRT1060_EVK)
    #define DISPLAY_PROFILE { .width=480, .height=272, .dpi=128, .name="RT1060" }
#elif defined(CONFIG_BOARD_LPCXPRESSO54628)
    #define DISPLAY_PROFILE { .width=480, .height=272, .dpi=128, .name="LPC54628" }
#elif defined(CONFIG_BOARD_EK_RA6M3G)
    #define DISPLAY_PROFILE { .width=480, .height=272, .dpi=128, .name="RA6M3G" }
#else
    #define DISPLAY_PROFILE { .width=480, .height=272, .dpi=128, .name="Unknown" }
#endif

extern display_profile_t g_display;
void display_profile_init(void);
```
